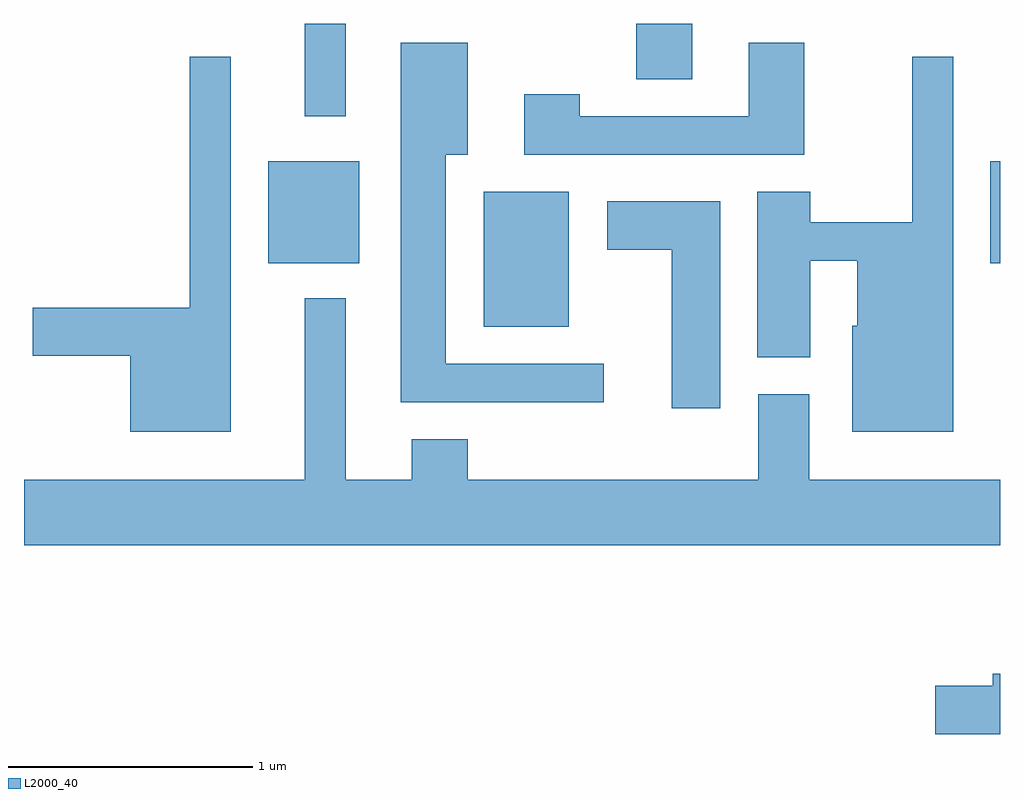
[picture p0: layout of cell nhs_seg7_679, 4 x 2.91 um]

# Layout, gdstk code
import gdstk
lib = gdstk.Library(unit=1e-6, precision=1e-09)
def R(c, l, rs):  # rectangles x0, y0, x1, y1
    for r in rs: c.add(gdstk.rectangle(r[:2], r[2:], *l))
def P(c, l, *ps):  # polygons
    for p in ps: c.add(gdstk.Polygon(p, *l))
L2000_40 = (2000, 40)

nhs_seg7_679 = lib.new_cell('nhs_seg7_679')
R(nhs_seg7_679, L2000_40, [(207.496,1693.011,207.844,1693.564), (206.611,1693.271,206.984,1693.689), (209.571,1693.271,209.611,1693.689), (206.761,1693.873,206.929,1694.252), (208.121,1694.026,208.349,1694.252)])
P(nhs_seg7_679, L2000_40, [(207.988,1692.859),(207.339,1692.859),(207.339,1693.716),(207.429,1693.716),(207.429,1694.174),(207.156,1694.174),(207.156,1692.701),(207.988,1692.701)],
  [(208.809,1694.174),(208.581,1694.174),(208.581,1693.874),(207.889,1693.874),(207.889,1693.964),(207.661,1693.964),(207.661,1693.716),(208.809,1693.716)],
  [(206.459,1694.118),(206.291,1694.118),(206.291,1693.089),(205.646,1693.089),(205.646,1692.891),(206.046,1692.891),(206.046,1692.581),(206.459,1692.581)],
  [(209.419,1694.118),(209.251,1694.118),(209.251,1693.439),(208.834,1693.439),(208.834,1693.564),(208.616,1693.564),(208.616,1692.886),(208.834,1692.886),(208.834,1693.281),(209.026,1693.281),(209.026,1693.014),(209.006,1693.014),(209.006,1692.581),(209.419,1692.581)],
  [(208.464,1693.524),(208.001,1693.524),(208.001,1693.326),(208.266,1693.326),(208.266,1692.676),(208.464,1692.676)],
  [(209.611,1692.384),(208.829,1692.384),(208.829,1692.734),(208.621,1692.734),(208.621,1692.384),(207.429,1692.384),(207.429,1692.549),(207.201,1692.549),(207.201,1692.384),(206.929,1692.384),(206.929,1693.128),(206.761,1693.128),(206.761,1692.384),(205.611,1692.384),(205.611,1692.116),(209.611,1692.116)],
  [(209.611,1691.589),(209.581,1691.589),(209.581,1691.539),(209.346,1691.539),(209.346,1691.341),(209.611,1691.341)])

lib.write_gds('nhs_seg7_679.gds')
